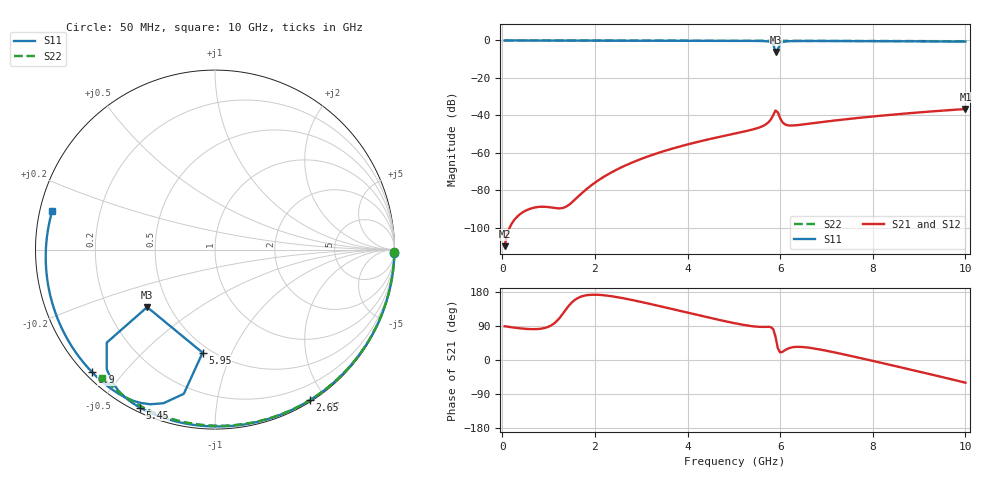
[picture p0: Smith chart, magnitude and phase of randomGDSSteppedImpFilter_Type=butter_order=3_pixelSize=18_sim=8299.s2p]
! freq	dB(S11)	phase(S11)	dB(S12)	phase(S12)
!  dB(S21)	phase(S21)	dB(S22)	phase(S22)
!S-par simulation data
#  GHz  S  DB  R 50
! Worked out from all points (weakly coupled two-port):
!   200 points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, 50 MHz to 10 GHz, reference 50 ohm
!   highest |S21| = -36.61 dB at 10 GHz (marker M1); lowest = -109.8 dB at 50 MHz (marker M2)
!   lowest |S11| = -6.1 dB at 5.9 GHz (marker M3), VSWR 2.96, Z = 18.8 - j16 ohm
!   |S11| at or under -10 dB: nowhere
!   |S22| runs from -0.4 to 0.0 dB; largest |S21 - S12| = 0
!   S11 on the Smith chart (normalised r, x): 50 MHz: open; 2.65 GHz: 0.02, -1.81; 5.45 GHz: 0.02, -0.63; 5.95 GHz: 0.45, -0.78; 6.9 GHz: 0.02, -0.41; 10 GHz: 0.04, +0.12
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0.05  -0.00 -1.1  -109.79 89.0  -109.79 89.0  -0.00 -0.8
0.85  -0.02 -19.0  -88.74 82.9  -88.74 82.9  -0.02 -12.8
1.75  -0.05 -38.7  -80.80 169.1  -80.80 169.1  -0.03 -26.2
2.25  -0.06 -49.4  -71.91 170.1  -71.91 170.1  -0.04 -33.5
2.65  -0.07 -57.8  -66.81 162.1  -66.81 162.1  -0.05 -39.2
3.4  -0.10 -73.2  -59.77 142.2  -59.77 142.2  -0.07 -49.8
4.25  -0.13 -90.1  -53.95 117.9  -53.95 117.9  -0.09 -61.5
5.05  -0.17 -106.1  -49.55 96.3  -49.55 96.3  -0.11 -72.1
5.45  -0.23 -115.3  -47.23 88.5  -47.23 88.5  -0.12 -77.3
5.75  -0.57 -127.5  -43.61 87.6  -43.61 87.6  -0.14 -81.2
5.8  -0.93 -132.1  -42.12 86.7  -42.12 86.7  -0.14 -81.8
5.85  -1.99 -139.3  -39.87 81.4  -39.87 81.4  -0.14 -82.4
5.9  -6.10 -139.7  -37.39 61.6  -37.39 61.6  -0.14 -83.0
5.95  -4.75 -96.9  -38.39 30.6  -38.39 30.6  -0.14 -83.7
6  -1.70 -102.2  -41.56 19.9  -41.56 19.9  -0.15 -84.3
6.05  -0.89 -108.6  -43.65 21.5  -43.65 21.5  -0.15 -84.9
6.15  -0.46 -115.6  -45.19 29.0  -45.19 29.0  -0.15 -86.2
6.7  -0.28 -131.0  -44.18 31.0  -44.18 31.0  -0.18 -93.0
6.9  -0.29 -135.0  -43.55 26.8  -43.55 26.8  -0.19 -95.4
8.35  -0.41 -162.0  -39.77 -12.2  -39.77 -12.2  -0.29 -112.6
9.2  -0.50 -177.8  -38.01 -36.4  -38.01 -36.4  -0.36 -122.3
10  -0.61 166.7  -36.61 -59.8  -36.61 -59.8  -0.44 -131.3
